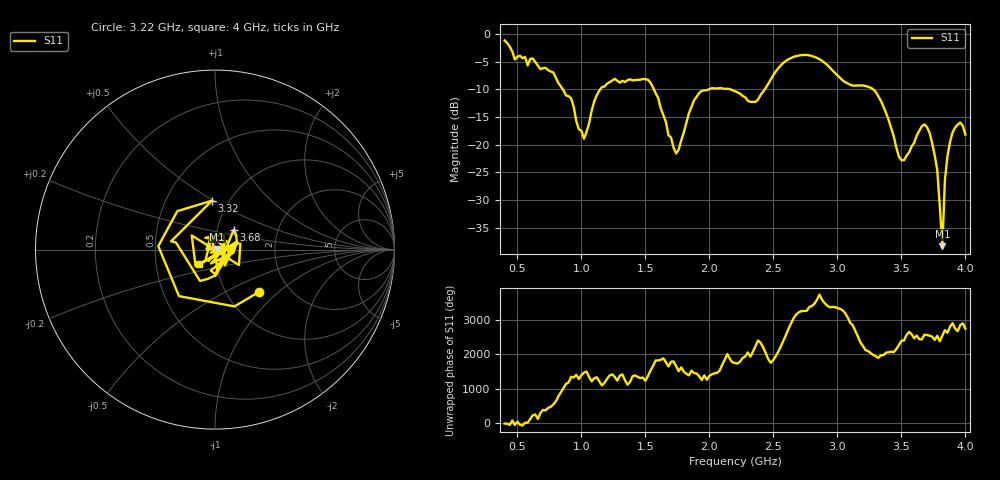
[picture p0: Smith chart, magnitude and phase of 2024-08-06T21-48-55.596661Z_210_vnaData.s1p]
!Created with skrf (http://scikit-rf.org).
# Hz S RI R 50.0
!freq ReS11 ImS11
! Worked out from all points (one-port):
!   181 points, 400 MHz to 4 GHz, reference 50 ohm
!   lowest |S11| = -38.4 dB at 3.82 GHz (marker M1), VSWR 1.02, Z = 51.2 + j0.313 ohm
!   |S11| at or under -10 dB: 854.9 MHz to 1.147 GHz (291.8 MHz wide, 29.2 % of centre); 1.567 GHz to 1.993 GHz (426.4 MHz wide, 24 % of centre); 3.28 GHz to end of sweep (the widest 3 of 4)
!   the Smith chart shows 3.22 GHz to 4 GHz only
!   S11 on the Smith chart (normalised r, x): 3.22 GHz: 1.41, -0.75; 3.32 GHz: 0.83, +0.49; 3.68 GHz: 1.20, +0.27; 4 GHz: 0.82, -0.14
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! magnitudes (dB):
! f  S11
! 400 MHz  -1.1
! 480 MHz  -4.6
! 620 MHz  -4.4
! 860 MHz  -10.2
! 920 MHz  -11.6
! 1.02 GHz  -18.9
! 1.14 GHz  -10.2
! 1.3 GHz  -8.8
! 1.52 GHz  -8.2
! 1.76 GHz  -20.9
! 1.92 GHz  -10.7
! 2.2 GHz  -10.3
! 2.36 GHz  -12.2
! 2.66 GHz  -4.1
! 2.84 GHz  -4.3
! 3.1 GHz  -9.1
! 3.22 GHz  -9.4
! 3.32 GHz  -11.3
! 3.48 GHz  -22.1
! 3.56 GHz  -21.4
! 3.68 GHz  -16.3
! 3.72 GHz  -17.8
! 3.78 GHz  -24.6
! 3.82 GHz  -38.4
! 3.84 GHz  -26.4
! 3.88 GHz  -19.5
! 3.96 GHz  -16.0
! 4 GHz  -18.2
